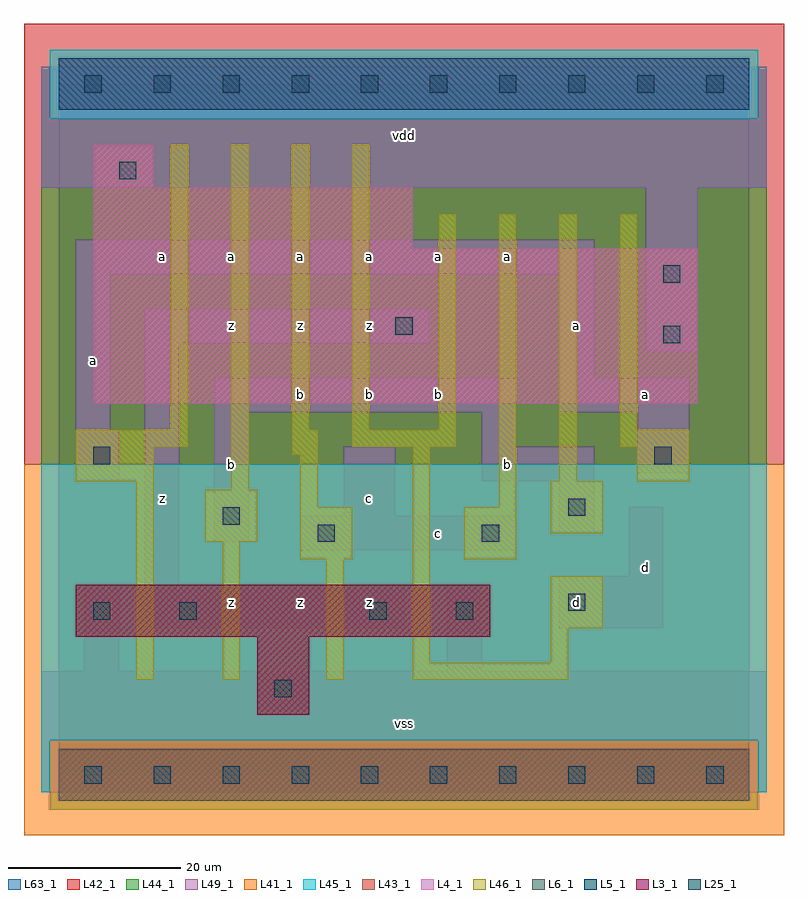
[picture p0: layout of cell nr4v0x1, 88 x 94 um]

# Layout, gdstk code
import gdstk
lib = gdstk.Library(unit=1e-6, precision=1e-09)
def R(c, l, rs):  # rectangles x0, y0, x1, y1
    for r in rs: c.add(gdstk.rectangle(r[:2], r[2:], *l))
def A(c, l, x, y, w, h, nx, ny, dx, dy):  # array of equal rectangles
    R(c, l, [(x+i*dx, y+j*dy, x+i*dx+w, y+j*dy+h) for i in range(nx) for j in range(ny)])
L3_1 = (3, 1)
L4_1 = (4, 1)
L5_1 = (5, 1)
L6_1 = (6, 1)
L25_1 = (25, 1)
L41_1 = (41, 1)
L42_1 = (42, 1)
L43_1 = (43, 1)
L44_1 = (44, 1)
L45_1 = (45, 1)
L46_1 = (46, 1)
L49_1 = (49, 1)
L63_1 = (63, 1)

nr4v0x1 = lib.new_cell('nr4v0x1')
R(nr4v0x1, L3_1, [(23,7,29,16), (2,16,50,22)])
R(nr4v0x1, L4_1, [(4,43,74,61), (4,61,41,68), (4,68,11,73)])
R(nr4v0x1, L5_1, [(0,77,80,83)])
R(nr4v0x1, L6_1, [(0,-3,80,3), (0,-3,80,3)])
A(nr4v0x1, L25_1, 3, -1, 2, 2, 10, 2, 8, 80)
R(nr4v0x1, L25_1, [(25,9,27,11), (4,18,6,20), (14,18,16,20), (36,18,38,20), (46,18,48,20), (59,19,61,21), (30,27,32,29), (49,27,51,29), (19,29,21,31), (59,30,61,32), (4,36,6,38), (69,36,71,38), (70,50,72,52), (39,51,41,53), (70,57,72,59), (7,69,9,71)])
R(nr4v0x1, L41_1, [(-4,-7,84,36)])
R(nr4v0x1, L42_1, [(-4,36,84,87)])
R(nr4v0x1, L43_1, [(0,-3,80,3), (23,7,29,16), (2,16,50,22), (4,43,74,61), (4,61,41,68), (4,68,11,73), (0,77,80,83)])
R(nr4v0x1, L44_1, [(-1,-4,81,4), (-2,36,82,76), (-2,76,-1,82), (81,76,82,82)])
R(nr4v0x1, L45_1, [(-2,-2,-1,4), (81,-2,82,4), (-2,4,82,36), (-1,76,81,84)])
R(nr4v0x1, L46_1, [(9,11,11,34), (19,11,21,27), (31,11,33,25), (41,11,59,13), (41,13,43,38), (57,13,59,17), (57,17,63,23), (28,25,34,31), (47,25,53,31), (17,27,23,33), (57,28,63,34), (28,31,30,37), (51,31,53,65), (20,33,22,73), (2,34,11,38), (58,34,60,65), (67,34,73,38), (27,37,30,40), (2,38,15,40), (34,38,46,40), (65,38,73,40), (13,40,15,73), (27,40,29,73), (34,40,36,73), (44,40,46,65), (65,40,67,65)])
R(nr4v0x1, L49_1, [(-2,-2,82,12), (3,12,7,22), (45,12,49,22), (10,17,40,22), (58,17,70,23), (10,22,14,50), (66,23,70,31), (28,26,53,30), (18,27,22,42), (58,28,62,34), (33,30,39,38), (2,34,7,40), (49,34,62,38), (67,35,73,42), (49,38,53,42), (2,40,6,58), (18,42,53,46), (58,42,73,46), (58,46,62,58), (68,49,74,68), (10,50,43,54), (2,58,62,62), (-2,68,82,82)])
R(nr4v0x1, L63_1, [(0,0,80,80)])
nr4v0x1.add(gdstk.Label('a', (4,48), layer=49, texttype=1))
nr4v0x1.add(gdstk.Label('z', (28,20), layer=49, texttype=1))
nr4v0x1.add(gdstk.Label('z', (20,20), layer=49, texttype=1))
nr4v0x1.add(gdstk.Label('z', (12,32), layer=49, texttype=1))
nr4v0x1.add(gdstk.Label('b', (28,44), layer=49, texttype=1))
nr4v0x1.add(gdstk.Label('b', (20,36), layer=49, texttype=1))
nr4v0x1.add(gdstk.Label('z', (28,52), layer=49, texttype=1))
nr4v0x1.add(gdstk.Label('z', (20,52), layer=49, texttype=1))
nr4v0x1.add(gdstk.Label('a', (12,60), layer=49, texttype=1))
nr4v0x1.add(gdstk.Label('a', (28,60), layer=49, texttype=1))
nr4v0x1.add(gdstk.Label('a', (20,60), layer=49, texttype=1))
nr4v0x1.add(gdstk.Label('vss', (40,6), layer=49, texttype=1))
nr4v0x1.add(gdstk.Label('c', (44,28), layer=49, texttype=1))
nr4v0x1.add(gdstk.Label('z', (36,20), layer=49, texttype=1))
nr4v0x1.add(gdstk.Label('c', (36,32), layer=49, texttype=1))
nr4v0x1.add(gdstk.Label('b', (44,44), layer=49, texttype=1))
nr4v0x1.add(gdstk.Label('b', (36,44), layer=49, texttype=1))
nr4v0x1.add(gdstk.Label('z', (36,52), layer=49, texttype=1))
nr4v0x1.add(gdstk.Label('a', (44,60), layer=49, texttype=1))
nr4v0x1.add(gdstk.Label('a', (36,60), layer=49, texttype=1))
nr4v0x1.add(gdstk.Label('vdd', (40,74), layer=49, texttype=1))
nr4v0x1.add(gdstk.Label('d', (60,20), layer=49, texttype=1))
nr4v0x1.add(gdstk.Label('b', (52,36), layer=49, texttype=1))
nr4v0x1.add(gdstk.Label('a', (60,52), layer=49, texttype=1))
nr4v0x1.add(gdstk.Label('a', (52,60), layer=49, texttype=1))
nr4v0x1.add(gdstk.Label('d', (68,24), layer=49, texttype=1))
nr4v0x1.add(gdstk.Label('a', (68,44), layer=49, texttype=1))

lib.write_gds('nr4v0x1.gds')
